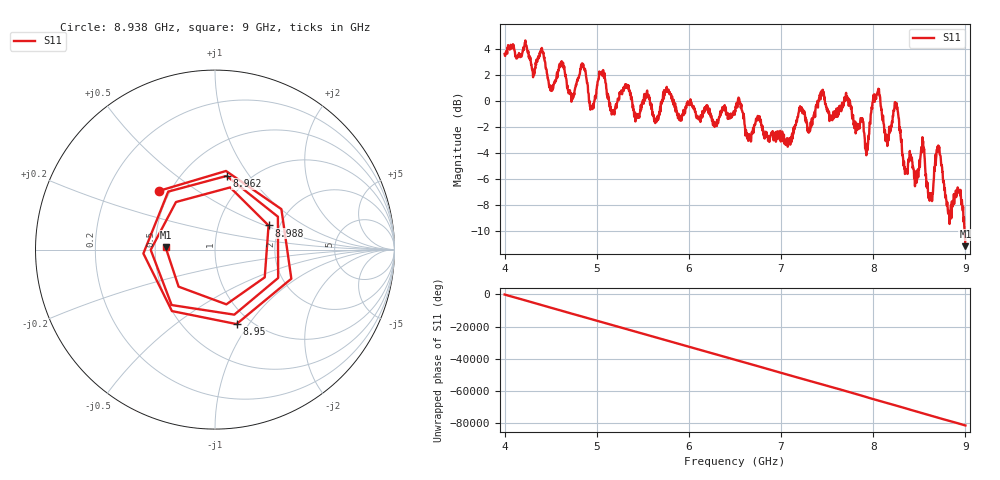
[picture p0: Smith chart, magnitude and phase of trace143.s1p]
! Created with skrf 1.8.0 (http://scikit-rf.org).
# Hz S RI R 50.0
!freq ReS11 ImS11
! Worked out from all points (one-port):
!   1601 points, 4 GHz to 9 GHz, reference 50 ohm
!   lowest |S11| = -11.2 dB at 9 GHz (marker M1), VSWR 1.76, Z = 28.4 + j0.886 ohm
!   |S11| at or under -10 dB: 8.991555 GHz to end of sweep
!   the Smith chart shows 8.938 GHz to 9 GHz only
!   S11 on the Smith chart (normalised r, x): 8.938 GHz: 0.43, +0.36; 8.95 GHz: 0.86, -0.88; 8.962 GHz: 0.79, +0.79; 8.988 GHz: 1.75, +0.53; 9 GHz: 0.57, +0.02
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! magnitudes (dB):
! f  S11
! 4 GHz  3.7
! 4.506 GHz  0.9
! 4.625 GHz  2.7
! 4.731 GHz  0.5
! 4.853 GHz  2.9
! 4.941 GHz  -0.4
! 5.05 GHz  2.1
! 5.166 GHz  -0.9
! 5.25 GHz  0.6
! 5.875 GHz  -1.0
! 6.5 GHz  -0.7
! 7.125 GHz  -2.6
! 7.441 GHz  0.8
! 7.75 GHz  -0.2
! 7.931 GHz  -3.4
! 8.038 GHz  0.5
! 8.144 GHz  -3.1
! 8.247 GHz  -0.2
! 8.375 GHz  -5.1
! 8.538 GHz  -3.3
! 8.622 GHz  -7.1
! 8.709 GHz  -3.6
! 8.822 GHz  -8.5
! 8.938 GHz  -6.9
! 8.95 GHz  -7.3
! 8.962 GHz  -7.6
! 8.988 GHz  -9.7
! 9 GHz  -11.2
